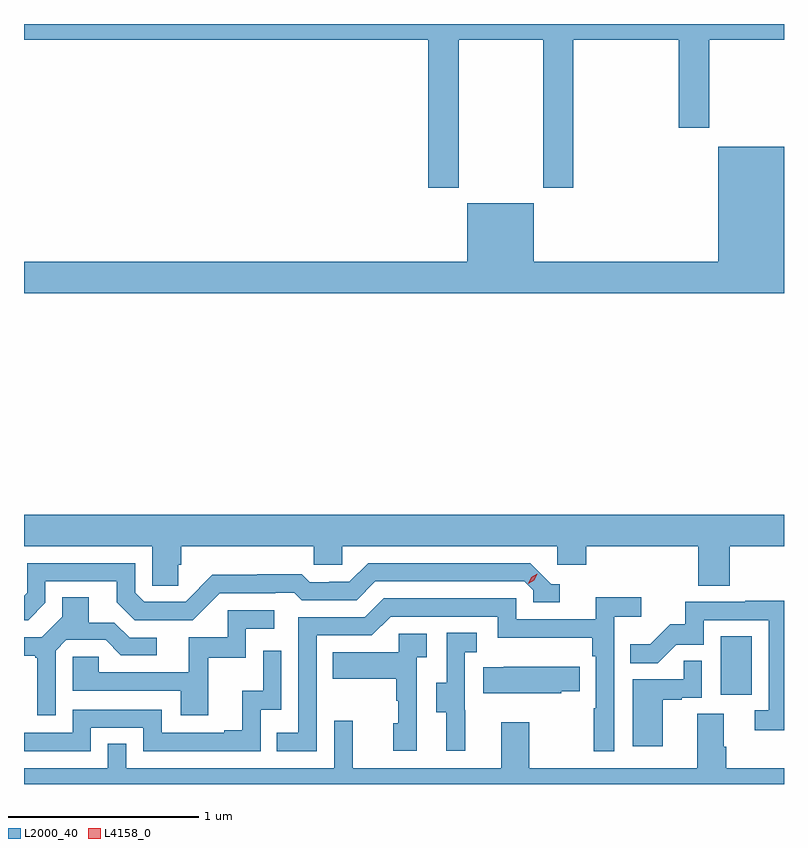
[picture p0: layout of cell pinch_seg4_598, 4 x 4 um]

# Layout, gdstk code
import gdstk
lib = gdstk.Library(unit=1e-6, precision=1e-09)
def R(c, l, rs):  # rectangles x0, y0, x1, y1
    for r in rs: c.add(gdstk.rectangle(r[:2], r[2:], *l))
def P(c, l, *ps):  # polygons
    for p in ps: c.add(gdstk.Polygon(p, *l))
L2000_40 = (2000, 40)
L4158_0 = (4158, 0)

pinch_seg4_598 = lib.new_cell('pinch_seg4_598')
R(pinch_seg4_598, L2000_40, [(1063.13,774.726,1063.294,775.033)])
P(pinch_seg4_598, L2000_40, [(1059.464,778.172),(1061.591,778.172),(1061.591,777.393),(1061.751,777.393),(1061.751,778.172),(1062.196,778.172),(1062.196,777.393),(1062.356,777.393),(1062.356,778.172),(1062.911,778.172),(1062.911,777.711),(1063.071,777.711),(1063.071,778.172),(1063.464,778.172),(1063.464,778.256),(1059.464,778.256)],
  [(1063.464,777.61),(1063.118,777.61),(1063.118,777.004),(1062.148,777.004),(1062.148,777.313),(1061.798,777.313),(1061.798,777.004),(1059.464,777.004),(1059.464,776.84),(1063.464,776.84)],
  [(1060.277,775.41),(1060.292,775.41),(1060.292,775.508),(1060.989,775.508),(1060.989,775.41),(1061.139,775.41),(1061.139,775.508),(1062.27,775.508),(1062.27,775.41),(1062.422,775.41),(1062.422,775.508),(1063.013,775.508),(1063.013,775.3),(1063.178,775.3),(1063.178,775.508),(1063.464,775.508),(1063.464,775.672),(1059.464,775.672),(1059.464,775.508),(1060.14,775.508),(1060.14,775.3),(1060.277,775.3)],
  [(1059.576,775.209),(1059.576,775.323),(1059.953,775.323),(1059.953,775.213),(1060.047,775.119),(1060.353,775.119),(1060.494,775.26),(1060.787,775.26),(1060.787,775.263),(1060.886,775.263),(1060.925,775.224),(1061.214,775.224),(1061.313,775.323),(1062.096,775.323),(1062.144,775.275),(1062.144,775.212),(1062.283,775.212),(1062.283,775.308),(1062.24,775.308),(1062.129,775.419),(1061.276,775.419),(1061.177,775.32),(1061.07,775.32),(1061.07,775.317),(1060.967,775.317),(1060.925,775.36),(1060.692,775.36),(1060.692,775.357),(1060.456,775.357),(1060.314,775.215),(1060.098,775.215),(1060.05,775.263),(1060.05,775.419),(1059.48,775.419),(1059.48,775.263),(1059.464,775.247),(1059.464,775.119),(1059.486,775.119)],
  [(1059.63,774.957),(1059.687,775.014),(1059.893,775.014),(1059.974,774.933),(1060.162,774.933),(1060.162,775.026),(1060.02,775.026),(1059.94,775.106),(1059.805,775.106),(1059.805,775.238),(1059.665,775.238),(1059.665,775.136),(1059.558,775.029),(1059.464,775.029),(1059.464,774.932),(1059.522,774.932),(1059.522,774.921),(1059.533,774.921),(1059.533,774.618),(1059.63,774.618)],
  [(1061.004,775.038),(1061.295,775.038),(1061.394,775.137),(1061.958,775.137),(1061.958,775.025),(1062.454,775.025),(1062.454,774.929),(1062.474,774.929),(1062.474,774.656),(1062.462,774.656),(1062.462,774.429),(1062.57,774.429),(1062.57,775.136),(1062.712,775.136),(1062.712,775.238),(1062.473,775.238),(1062.473,775.122),(1062.054,775.122),(1062.054,775.233),(1061.357,775.233),(1061.258,775.134),(1060.908,775.134),(1060.908,774.525),(1060.795,774.525),(1060.795,774.429),(1061.004,774.429)],
  [(1063.464,775.22),(1063.261,775.22),(1063.261,775.215),(1062.943,775.215),(1062.943,775.098),(1062.866,775.098),(1062.759,774.991),(1062.655,774.991),(1062.655,774.892),(1062.799,774.892),(1062.897,774.99),(1063.041,774.99),(1063.041,775.119),(1063.383,775.119),(1063.383,774.645),(1063.311,774.645),(1063.311,774.54),(1063.464,774.54)],
  [(1060.433,774.921),(1060.632,774.921),(1060.632,775.074),(1060.78,775.074),(1060.78,775.17),(1060.536,775.17),(1060.536,775.029),(1060.331,775.029),(1060.331,774.843),(1059.857,774.843),(1059.857,774.927),(1059.72,774.927),(1059.72,774.747),(1060.289,774.747),(1060.289,774.618),(1060.433,774.618)],
  [(1061.786,774.645),(1061.784,774.645),(1061.784,774.949),(1061.848,774.949),(1061.848,775.052),(1061.688,775.052),(1061.688,774.789),(1061.633,774.789),(1061.633,774.634),(1061.687,774.634),(1061.687,774.432),(1061.786,774.432)],
  [(1061.532,774.923),(1061.584,774.923),(1061.584,775.047),(1061.436,775.047),(1061.436,774.949),(1061.089,774.949),(1061.089,774.809),(1061.424,774.809),(1061.424,774.695),(1061.434,774.695),(1061.434,774.576),(1061.408,774.576),(1061.408,774.432),(1061.532,774.432)],
  [(1059.816,774.552),(1060.092,774.552),(1060.092,774.429),(1060.71,774.429),(1060.71,774.648),(1060.818,774.648),(1060.818,774.958),(1060.722,774.958),(1060.722,774.746),(1060.613,774.746),(1060.613,774.538),(1060.517,774.538),(1060.517,774.525),(1060.188,774.525),(1060.188,774.648),(1059.72,774.648),(1059.72,774.525),(1059.464,774.525),(1059.464,774.429),(1059.816,774.429)],
  [(1062.826,774.699),(1062.926,774.699),(1062.926,774.711),(1063.032,774.711),(1063.032,774.905),(1062.937,774.905),(1062.937,774.807),(1062.668,774.807),(1062.668,774.456),(1062.826,774.456)],
  [(1062.291,774.745),(1062.389,774.745),(1062.389,774.874),(1061.989,774.874),(1061.989,774.871),(1061.881,774.871),(1061.881,774.734),(1062.291,774.734)],
  [(1063.464,774.34),(1063.16,774.34),(1063.16,774.452),(1063.147,774.452),(1063.147,774.626),(1063.007,774.626),(1063.007,774.34),(1062.123,774.34),(1062.123,774.58),(1061.975,774.58),(1061.975,774.34),(1061.195,774.34),(1061.195,774.589),(1061.097,774.589),(1061.097,774.34),(1060.002,774.34),(1060.002,774.467),(1059.906,774.467),(1059.906,774.34),(1059.464,774.34),(1059.464,774.256),(1063.464,774.256)])
P(pinch_seg4_598, L4158_0, [(1062.119,775.31),(1062.119,775.31),(1062.135,775.343),(1062.166,775.362),(1062.166,775.362),(1062.166,775.362),(1062.15,775.329),(1062.119,775.31)])

lib.write_gds('pinch_seg4_598.gds')
